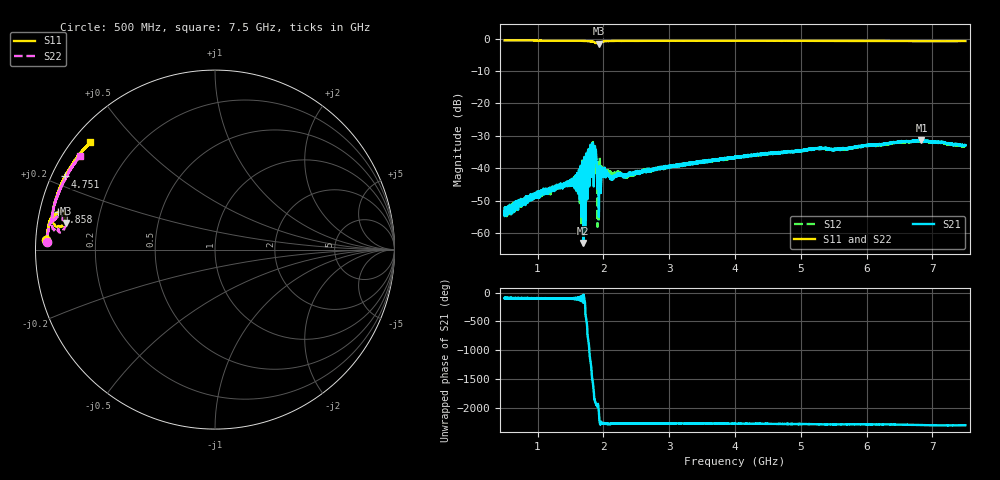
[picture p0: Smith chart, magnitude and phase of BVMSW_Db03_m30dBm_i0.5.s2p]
!Keysight Technologies,M9374A,MY55442783,A.12.55.05
!Date: Friday, May 21, 2021 11:23:18
!Correction: S11(Full 2 Port(1,2))
!S21(Full 2 Port(1,2))
!S12(Full 2 Port(1,2))
!S22(Full 2 Port(1,2))
!S2P File: Measurements: S11, S21, S12, S22:
# Hz S  RI  R 50
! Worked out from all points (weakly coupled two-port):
!   7001 points, 500 MHz to 7.5 GHz, reference 50 ohm
!   highest |S21| = -31.29 dB at 6.833 GHz (marker M1); lowest = -63.1 dB at 1.696 GHz (marker M2)
!   lowest |S11| = -1.5 dB at 1.927 GHz (marker M3), VSWR 11.71, Z = 4.3 + j4.4 ohm
!   |S11| at or under -10 dB: nowhere
!   |S22| runs from -1.5 to -0.5 dB; largest |S21 - S12| = 0.01
!   S11 on the Smith chart (normalised r, x): 500 MHz: 0.03, +0.03; 1.858 GHz: 0.05, +0.12; 4.751 GHz: 0.04, +0.23; 7.5 GHz: 0.05, +0.37
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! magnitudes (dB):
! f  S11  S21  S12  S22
! 500 MHz  -0.5  -53.3  -54.1  -0.6
! 910 MHz  -0.6  -49.2  -48.9  -0.6
! 1.657 GHz  -0.6  -39.4  -39.4  -0.7
! 1.667 GHz  -0.6  -49.7  -48.3  -0.7
! 1.685 GHz  -0.7  -38.2  -38.0  -0.7
! 1.696 GHz  -0.7  -63.1  -61.0  -0.7
! 1.711 GHz  -0.7  -36.8  -36.5  -0.7
! 1.802 GHz  -0.8  -33.4  -33.1  -0.8
! 1.858 GHz  -0.9  -40.6  -42.1  -1.0
! 1.897 GHz  -1.4  -38.1  -39.4  -1.3
! 1.927 GHz  -1.5  -44.0  -51.2  -1.4
! 1.962 GHz  -1.1  -47.0  -45.3  -1.1
! 2.005 GHz  -0.8  -41.7  -40.4  -0.8
! 2.133 GHz  -0.7  -42.9  -42.2  -0.7
! 2.328 GHz  -0.7  -42.4  -42.2  -0.7
! 2.834 GHz  -0.6  -39.9  -40.0  -0.6
! 4 GHz  -0.6  -36.4  -36.8  -0.7
! 4.751 GHz  -0.6  -35.2  -35.0  -0.7
! 5.167 GHz  -0.6  -34.1  -34.3  -0.7
! 6.334 GHz  -0.7  -32.3  -32.6  -0.7
! 6.833 GHz  -0.7  -31.3  -31.6  -0.8
! 7.5 GHz  -0.7  -32.9  -33.3  -0.8
